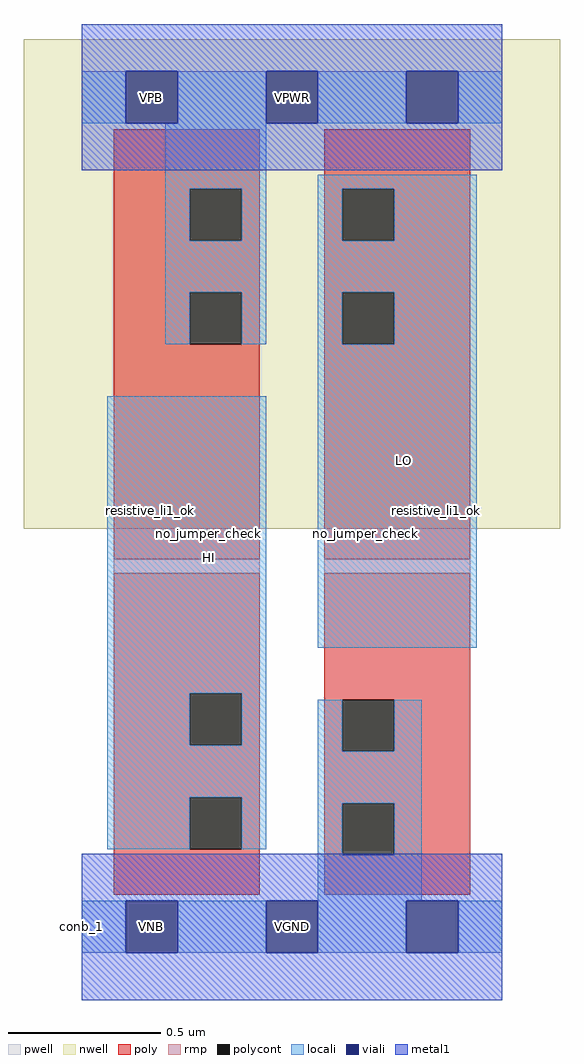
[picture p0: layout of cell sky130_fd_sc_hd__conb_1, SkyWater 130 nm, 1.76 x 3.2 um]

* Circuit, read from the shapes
.subckt sky130_fd_sc_hd__conb_1 VGND VNB VPB VPWR HI LO
R1 VPWR HI sky130_fd_pr__res_generic_po w=0.48 l=0.045
R2 LO VGND sky130_fd_pr__res_generic_po w=0.48 l=0.045
.ends

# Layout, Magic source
magic
tech sky130B
magscale 1 2
<< nwell >>
rect -38 261 314 582
<< pwell >>
rect 29 -17 63 17
<< poly >>
rect 21 484 117 523
rect 21 450 71 484
rect 105 450 117 484
rect 21 416 117 450
rect 21 382 71 416
rect 105 382 117 416
rect 21 241 117 382
rect 21 153 117 232
rect 21 119 71 153
rect 105 119 117 153
rect 21 85 117 119
rect 21 51 71 85
rect 105 51 117 85
rect 21 21 117 51
rect 159 484 255 523
rect 159 450 171 484
rect 205 450 255 484
rect 159 416 255 450
rect 159 382 171 416
rect 205 382 255 416
rect 159 241 255 382
rect 159 149 255 232
rect 159 115 171 149
rect 205 115 255 149
rect 159 81 255 115
rect 159 47 171 81
rect 205 47 255 81
rect 159 21 255 47
<< polycont >>
rect 71 450 105 484
rect 71 382 105 416
rect 71 119 105 153
rect 71 51 105 85
rect 171 450 205 484
rect 171 382 205 416
rect 171 115 205 149
rect 171 47 205 81
<< rmp >>
rect 21 232 117 241
rect 159 232 255 241
<< locali >>
rect 0 527 29 561
rect 63 527 121 561
rect 155 527 213 561
rect 247 527 276 561
rect 55 484 121 527
rect 55 450 71 484
rect 105 450 121 484
rect 55 416 121 450
rect 55 382 71 416
rect 105 382 121 416
rect 155 484 259 493
rect 155 450 171 484
rect 205 450 259 484
rect 155 416 259 450
rect 155 382 171 416
rect 205 382 259 416
rect 17 153 121 348
rect 155 183 259 382
rect 17 119 71 153
rect 105 119 121 153
rect 17 85 121 119
rect 17 51 71 85
rect 105 51 121 85
rect 155 115 171 149
rect 205 115 223 149
rect 155 81 223 115
rect 155 47 171 81
rect 205 47 223 81
rect 155 17 223 47
rect 0 -17 29 17
rect 63 -17 121 17
rect 155 -17 213 17
rect 247 -17 276 17
<< viali >>
rect 29 527 63 561
rect 121 527 155 561
rect 213 527 247 561
rect 29 -17 63 17
rect 121 -17 155 17
rect 213 -17 247 17
<< metal1 >>
rect 0 561 276 592
rect 0 527 29 561
rect 63 527 121 561
rect 155 527 213 561
rect 247 527 276 561
rect 0 496 276 527
rect 0 17 276 48
rect 0 -17 29 17
rect 63 -17 121 17
rect 155 -17 213 17
rect 247 -17 276 17
rect 0 -48 276 -17
<< labels >>
flabel locali s 194 289 228 323 0 FreeSans 200 0 0 0 LO
port 6 nsew signal output
flabel locali s 67 225 101 259 0 FreeSans 200 0 0 0 HI
port 5 nsew signal output
flabel nwell s 29 527 63 561 0 FreeSans 200 0 0 0 VPB
port 3 nsew power bidirectional
flabel pwell s 29 -17 63 17 0 FreeSans 200 0 0 0 VNB
port 2 nsew ground bidirectional
flabel metal1 s 29 -17 63 17 0 FreeSans 200 0 0 0 VGND
port 1 nsew ground bidirectional abutment
flabel metal1 s 29 527 63 561 0 FreeSans 200 0 0 0 VPWR
port 4 nsew power bidirectional abutment
rlabel comment s 0 0 0 0 4 conb_1
flabel comment s 45 273 45 273 0 FreeSans 200 90 0 0 resistive_li1_ok
flabel comment s 233 273 233 273 0 FreeSans 200 90 0 0 resistive_li1_ok
flabel comment s 186 258 186 258 0 FreeSans 200 90 0 0 no_jumper_check
flabel comment s 83 258 83 258 0 FreeSans 200 90 0 0 no_jumper_check
rlabel metal1 s 0 -48 276 48 1 VGND
port 1 nsew ground bidirectional abutment
rlabel metal1 s 0 496 276 592 1 VPWR
port 4 nsew power bidirectional abutment
<< properties >>
string FIXED_BBOX 0 0 276 544
string GDS_END 1638680
string GDS_FILE $PDKPATH/libs.ref/sky130_fd_sc_hd/gds/sky130_fd_sc_hd.gds
string GDS_START 1635376
string LEFclass CORE
string LEFsite unithd
string LEFsymmetry X Y R90
string path 0.000 13.600 6.900 13.600 
<< end >>
